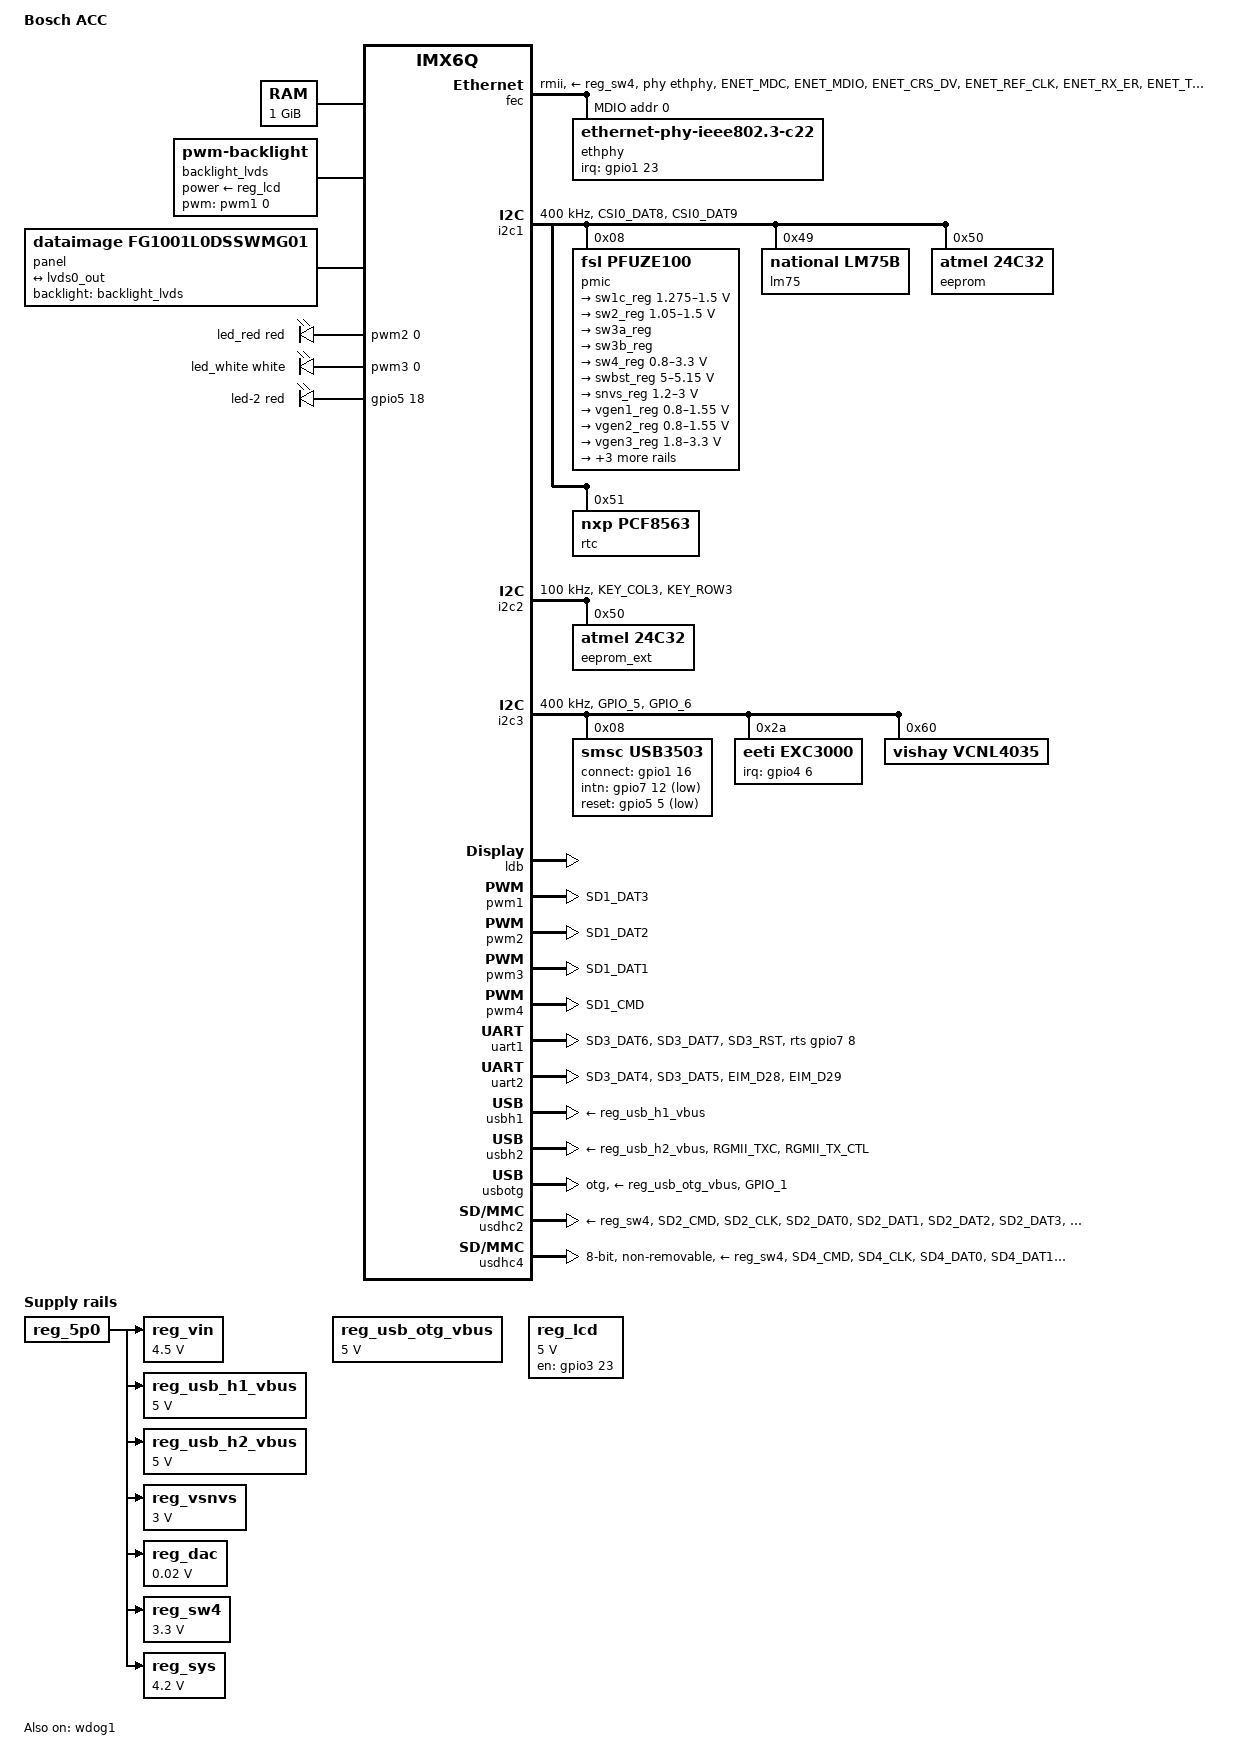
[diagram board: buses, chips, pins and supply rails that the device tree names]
// SPDX-License-Identifier: GPL-2.0
/*
 * Support for the i.MX6-based Bosch ACC board.
 *
 * Copyright (C) 2016 Garz & Fricke GmbH
 * Copyright (C) 2018 DENX Software Engineering GmbH, Heiko Schocher <hs@denx.de>
 * Copyright (C) 2018 DENX Software Engineering GmbH, Niel Fourie <lusus@denx.de>
 * Copyright (C) 2019-2021 Bosch Thermotechnik GmbH, Matthias Winker <matthias.winker@bosch.com>
 * Copyright (C) 2022 DENX Software Engineering GmbH, Philip Oberfichtner <pro@denx.de>
 */

/dts-v1/;

#include <dt-bindings/gpio/gpio.h>
#include <dt-bindings/leds/common.h>
#include "imx6q.dtsi"

/ {
	model = "Bosch ACC";
	compatible = "bosch,imx6q-acc", "fsl,imx6q";

	aliases {
		i2c0 = &i2c1;
		i2c1 = &i2c2;
		i2c2 = &i2c3;
		mmc0 = &usdhc4;
		mmc1 = &usdhc2;
		serial0 = &uart2;
		serial1 = &uart1;
	};

	memory@10000000 {
		device_type = "memory";
		reg = <0x10000000 0x40000000>;
	};

	backlight_lvds: backlight-lvds {
		compatible = "pwm-backlight";
		pwms = <&pwm1 0 200000>;
		brightness-levels = <0 61 499 1706 4079 8022 13938 22237 33328 47623 65535>;
		num-interpolated-steps = <10>;
		default-brightness-level = <60>;
		power-supply = <&reg_lcd>;
	};

	panel {
		compatible = "dataimage,fg1001l0dsswmg01";
		backlight = <&backlight_lvds>;

		port {
			panel_in: endpoint {
				remote-endpoint = <&lvds0_out>;
			};
		};
	};

	refclk: refclk {
		compatible = "fixed-factor-clock";
		#clock-cells = <0>;
		clocks = <&clks IMX6QDL_CLK_CKO2>;
		clock-div = <1>;
		clock-mult = <1>;
		clock-output-names = "12mhz_refclk";
		assigned-clocks = <&clks IMX6QDL_CLK_CKO>,
				  <&clks IMX6QDL_CLK_CKO2>,
				  <&clks IMX6QDL_CLK_CKO2_SEL>;
		assigned-clock-parents = <&clks IMX6QDL_CLK_CKO2>,
					 <&clks IMX6QDL_CLK_CKO2_PODF>,
					 <&clks IMX6QDL_CLK_OSC>;
		assigned-clock-rates = <0>, <12000000>, <0>;
	};

	cpus {
		cpu0: cpu@0 {
			operating-points = <
				/* kHz    uV */
				1200000 1275000
				996000  1225000
				852000  1225000
				792000  1150000
				396000  950000
			>;
			fsl,soc-operating-points = <
				/* ARM kHz  SOC-PU uV */
				1200000 1225000
				996000	1175000
				852000	1175000
				792000	1150000
				396000	1150000
			>;
		};

		cpu1: cpu@1 {
			operating-points = <
				/* kHz    uV */
				1200000 1275000
				996000  1225000
				852000  1225000
				792000  1150000
				396000  950000
			>;
			fsl,soc-operating-points = <
				/* ARM kHz  SOC-PU uV */
				1200000 1225000
				996000	1175000
				852000	1175000
				792000	1150000
				396000	1150000
			>;
		};
	};

	pwm-leds {
		compatible = "pwm-leds";

		led_red: led-0 {
			color = <LED_COLOR_ID_RED>;
			max-brightness = <248>;
			default-state = "off";
			pwms = <&pwm2 0 500000>;
		};

		led_white: led-1 {
			color = <LED_COLOR_ID_WHITE>;
			max-brightness = <248>;
			default-state = "off";
			pwms = <&pwm3 0 500000>;
			linux,default-trigger = "heartbeat";
		};
	};

	gpio-leds {
		compatible = "gpio-leds";
		pinctrl-names = "default";
		pinctrl-0 = <&pinctrl_reset_gpio_led>;

		led-2 {
			color = <LED_COLOR_ID_RED>;
			gpios = <&gpio5 18 GPIO_ACTIVE_HIGH>;
			default-state = "off";
		};
	};

	reg_5p0: regulator-5p0 {
		compatible = "regulator-fixed";
		regulator-name = "5p0";
	};

	reg_vin: regulator-vin {
		compatible = "regulator-fixed";
		regulator-name = "VIN";
		regulator-min-microvolt = <4500000>;
		regulator-max-microvolt = <4500000>;
		regulator-always-on;
		vin-supply = <&reg_5p0>;
	};

	reg_usb_otg_vbus: regulator-usb-otg-vbus {
		compatible = "regulator-fixed";
		regulator-name = "usb_otg_vbus";
		regulator-min-microvolt = <5000000>;
		regulator-max-microvolt = <5000000>;
	};

	reg_usb_h1_vbus: regulator-usb-h1-vbus {
		compatible = "regulator-fixed";
		regulator-name = "usb_h1_vbus";
		regulator-min-microvolt = <5000000>;
		regulator-max-microvolt = <5000000>;
		regulator-always-on;
		vin-supply = <&reg_5p0>;
	};

	reg_usb_h2_vbus: regulator-usb-h2-vbus {
		compatible = "regulator-fixed";
		regulator-name = "usb_h2_vbus";
		regulator-min-microvolt = <5000000>;
		regulator-max-microvolt = <5000000>;
		vin-supply = <&reg_5p0> ;
		regulator-always-on;
	};

	reg_vsnvs: regulator-vsnvs {
		compatible = "regulator-fixed";
		regulator-name = "VSNVS_3V0";
		regulator-min-microvolt = <3000000>;
		regulator-max-microvolt = <3000000>;
		regulator-always-on;
		vin-supply = <&reg_5p0>;
	};

	reg_lcd: regulator-lcd {
		compatible = "regulator-fixed";
		regulator-name = "LCD0 POWER";
		regulator-min-microvolt = <5000000>;
		regulator-max-microvolt = <5000000>;
		pinctrl-names = "default";
		pinctrl-0 = <&pinctrl_lcd_enable>;
		gpio = <&gpio3 23 GPIO_ACTIVE_HIGH>;
		enable-active-high;
		regulator-boot-on;
	};

	reg_dac: regulator-dac {
		compatible = "regulator-fixed";
		regulator-name = "vref_dac";
		regulator-min-microvolt = <20000>;
		regulator-max-microvolt = <20000>;
		vin-supply = <&reg_5p0> ;
		regulator-boot-on;
	};

	reg_sw4: regulator-sw4 {
		compatible = "regulator-fixed";
		regulator-name = "SW4_3V3";
		regulator-min-microvolt = <3300000>;
		regulator-max-microvolt = <3300000>;
		regulator-always-on;
		vin-supply = <&reg_5p0>;
	};

	reg_sys: regulator-sys {
		compatible = "regulator-fixed";
		regulator-name = "SYS_4V2";
		regulator-min-microvolt = <4200000>;
		regulator-max-microvolt = <4200000>;
		regulator-always-on;
		vin-supply = <&reg_5p0>;
	};
};

&reg_arm {
	vin-supply = <&sw2_reg>;
};

&reg_soc {
	vin-supply = <&sw1c_reg>;
};

&reg_vdd1p1 {
	vin-supply = <&reg_vsnvs>;
};

&reg_vdd2p5 {
	vin-supply = <&reg_vsnvs>;
};

&reg_vdd3p0 {
	vin-supply = <&reg_vsnvs>;
};

&fec {
	pinctrl-names = "default";
	pinctrl-0 = <&pinctrl_enet>;
	clocks = <&clks IMX6QDL_CLK_ENET>,
		<&clks IMX6QDL_CLK_ENET>,
		<&clks IMX6QDL_CLK_ENET>,
		<&clks IMX6QDL_CLK_ENET_REF>;
	clock-names = "ipg", "ahb", "ptp", "enet_out";
	phy-mode = "rmii";
	phy-supply = <&reg_sw4>;
	phy-handle = <&ethphy>;
	status = "okay";

	mdio {
		#address-cells = <1>;
		#size-cells = <0>;

		ethphy: ethernet-phy@0 {
			compatible = "ethernet-phy-ieee802.3-c22";
			reg = <0>;
			interrupt-parent = <&gpio1>;
			interrupts = <23 IRQ_TYPE_EDGE_FALLING>;
			smsc,disable-energy-detect;
		};
	};
};

&gpu_vg {
	status = "disabled";
};

&gpu_2d {
	status = "disabled";
};

&i2c1 {
	pinctrl-names = "default";
	pinctrl-0 = <&pinctrl_i2c1>;
	clock-frequency = <400000>;
	status = "okay";

	pmic: pmic@8 {
		compatible = "fsl,pfuze100";
		reg = <0x08>;

		regulators {
			sw1c_reg: sw1c {
				regulator-name = "VDD_SOC (sw1abc)";
				regulator-min-microvolt = <1275000>;
				regulator-max-microvolt = <1500000>;
				regulator-boot-on;
				regulator-always-on;
				regulator-ramp-delay = <6250>;
			};

			sw2_reg: sw2 {
				regulator-name = "VDD_ARM (sw2)";
				regulator-min-microvolt = <1050000>;
				regulator-max-microvolt = <1500000>;
				regulator-boot-on;
				regulator-always-on;
				regulator-ramp-delay = <6250>;
			};

			sw3a_reg: sw3a {
				regulator-name = "DDR_1V5a";
				regulator-boot-on;
				regulator-always-on;

			};

			sw3b_reg: sw3b {
				regulator-name = "DDR_1V5b";
				regulator-boot-on;
				regulator-always-on;

			};

			sw4_reg: sw4 {
				regulator-name = "AUX 3V15 (sw4)";
				regulator-min-microvolt = <800000>;
				regulator-max-microvolt = <3300000>;
			};

			swbst_reg: swbst {
				regulator-min-microvolt = <5000000>;
				regulator-max-microvolt = <5150000>;
				regulator-boot-on;
				regulator-always-on;
				status = "disabled";
			};

			snvs_reg: vsnvs {
				regulator-min-microvolt = <1200000>;
				regulator-max-microvolt = <3000000>;
				regulator-boot-on;
				regulator-always-on;
			};

			vref_reg: vrefddr {
				regulator-boot-on;
				regulator-always-on;
			};

			vgen1_reg: vgen1 {
				regulator-min-microvolt = <800000>;
				regulator-max-microvolt = <1550000>;
				regulator-always-on;
			};

			vgen2_reg: vgen2 {
				regulator-min-microvolt = <800000>;
				regulator-max-microvolt = <1550000>;
				regulator-always-on;
			};

			vgen3_reg: vgen3 {
				regulator-min-microvolt = <1800000>;
				regulator-max-microvolt = <3300000>;
				regulator-always-on;
			};

			vgen4_reg: vgen4 {
				regulator-min-microvolt = <1800000>;
				regulator-max-microvolt = <3300000>;
				regulator-always-on;
				regulator-boot-on;
			};

			vgen5_reg: vgen5 {
				regulator-min-microvolt = <1800000>;
				regulator-max-microvolt = <3300000>;
				regulator-always-on;
				regulator-boot-on;
			};

			vgen6_reg: vgen6 {
				regulator-min-microvolt = <1800000>;
				regulator-max-microvolt = <3300000>;
				regulator-always-on;
			};
		};
	};

	lm75: sensor@49 {
		compatible = "national,lm75b";
		pinctrl-names = "default";
		pinctrl-0 = <&pinctrl_lm75>;
		reg = <0x49>;
	};

	eeprom: eeprom@50 {
		compatible = "atmel,24c32";
		reg = <0x50>;
		pagesize = <32>;
	};

	rtc: rtc@51 {
		pinctrl-names = "default";
		pinctrl-0 = <&pinctrl_rtc>;
		compatible = "nxp,pcf8563";
		reg = <0x51>;
	};
};

&i2c2 {
	pinctrl-names = "default";
	pinctrl-0 = <&pinctrl_i2c2>;
	clock-frequency = <100000>;
	status = "okay";

	eeprom_ext: eeprom@50 {
		compatible = "atmel,24c32";
		reg = <0x50>;
		pagesize = <32>;
	};
};

&i2c3 {
	pinctrl-names = "default";
	pinctrl-0 = <&pinctrl_i2c3>;
	clock-frequency = <400000>;
	status = "okay";

	usb3503: usb@8 {
		compatible = "smsc,usb3503";
		pinctrl-names = "default";
		pinctrl-0 = <&pinctrl_usb3503>;
		reg = <0x08>;
		connect-gpios = <&gpio1 16 GPIO_ACTIVE_HIGH>; /* Old: 0, SS: HIGH */
		intn-gpios = <&gpio7 12 GPIO_ACTIVE_LOW>; /* Old: 1, SS: HIGH */
		reset-gpios = <&gpio5 5 GPIO_ACTIVE_LOW>; /* Old: 0, SS: HIGH */
		initial-mode = <1>;
		clocks = <&refclk>;
		clock-names = "refclk";
		refclk-frequency = <12000000>;
	};

	exc3000: touchscreen@2a {
		compatible = "eeti,exc3000";
		reg = <0x2a>;
		pinctrl-names = "default";
		pinctrl-0 = <&pinctrl_ctouch>;
		interrupt-parent = <&gpio4>;
		interrupts = <6 IRQ_TYPE_LEVEL_LOW>;
		touchscreen-size-x = <4096>;
		touchscreen-size-y = <4096>;
	};

	vcnl4035: light-sensor@60 {
		compatible = "vishay,vcnl4035";
		pinctrl-names = "default";
		pinctrl-0 = <&pinctrl_proximity>;
		reg = <0x60>;
	};
};

&ldb {
	status = "okay";

	lvds0: lvds-channel@0 {
		fsl,data-mapping = "spwg";
		fsl,data-width = <24>;

		port@4 {
			reg = <4>;

			lvds0_out: endpoint {
				remote-endpoint = <&panel_in>;
			};
		};
	};
};

&pwm1 {
	#pwm-cells = <2>;
	pinctrl-names = "default";
	pinctrl-0 = <&pinctrl_pwm1>;
	status = "okay";
};

&pwm2 {
	#pwm-cells = <2>;
	pinctrl-names = "default";
	pinctrl-0 = <&pinctrl_pwm2>;
	status = "okay";
};

&pwm3 {
	#pwm-cells = <2>;
	pinctrl-names = "default";
	pinctrl-0 = <&pinctrl_pwm3>;
	status = "okay";
};

&pwm4 {
	#pwm-cells = <2>;
	pinctrl-names = "default";
	pinctrl-0 = <&pinctrl_pwm4>;
	status = "okay";
};

&uart1 {
	pinctrl-names = "default";
	pinctrl-0 = <&pinctrl_uart1>;
	rts-gpios = <&gpio7 8 GPIO_ACTIVE_HIGH>;
	linux,rs485-enabled-at-boot-time;
	rs485-rx-during-tx;
	status = "okay";
};

&uart2 {
	pinctrl-names = "default";
	pinctrl-0 = <&pinctrl_uart2>;
	uart-has-rtscts;
	status = "okay";
};

&usbh1 {
	vbus-supply = <&reg_usb_h1_vbus>;
	status = "okay";
};

&usbh2 {
	pinctrl-names = "idle", "active";
	pinctrl-0 = <&pinctrl_usbh2_idle>;
	pinctrl-1 = <&pinctrl_usbh2_active>;
	vbus-supply = <&reg_usb_h2_vbus>;
	status = "okay";
};

&usbotg {
	pinctrl-names = "default";
	pinctrl-0 = <&pinctrl_usbotg>;
	vbus-supply = <&reg_usb_otg_vbus>;
	disable-over-current;
	dr_mode = "otg";
	srp-disable;
	hnp-disable;
	adp-disable;
	status = "okay";
};

&usbphynop1 {
	clocks = <&clks IMX6QDL_CLK_USBPHY1>;
	clock-names = "main_clk";
	vcc-supply = <&reg_usb_h1_vbus>;
};

&usbphynop2 {
	vcc-supply = <&reg_usb_h2_vbus>;
};

&usdhc2 {
	pinctrl-names = "default";
	pinctrl-0 = <&pinctrl_usdhc2>;
	cd-gpios = <&gpio1 4 GPIO_ACTIVE_LOW>;
	no-1-8-v;
	keep-power-in-suspend;
	wakeup-source;
	voltage-ranges = <3300 3300>;
	vmmc-supply = <&reg_sw4>;
	fsl,wp-controller;
	status = "okay";
};

&usdhc4 {
	pinctrl-names = "default";
	pinctrl-0 = <&pinctrl_usdhc4>;
	bus-width = <8>;
	non-removable;
	no-1-8-v;
	keep-power-in-suspend;
	voltage-ranges = <3300 3300>;
	vmmc-supply = <&reg_sw4>;
	fsl,wp-controller;
	status = "okay";
};

&wdog1 {
	pinctrl-names = "default";
	pinctrl-0 = <&pinctrl_wdog1>;
	fsl,ext-reset-output;
	timeout-sec = <10>;
	status = "okay";
};

&iomuxc {
	pinctrl_enet: enetgrp {
		fsl,pins = <
			MX6QDL_PAD_ENET_MDC__ENET_MDC		0x1b0b0
			MX6QDL_PAD_ENET_MDIO__ENET_MDIO		0x1b0b0
			MX6QDL_PAD_ENET_CRS_DV__ENET_RX_EN	0x1b0b0
			MX6QDL_PAD_ENET_REF_CLK__GPIO1_IO23	0x1b0b0	/* FEC INT */
			MX6QDL_PAD_ENET_RX_ER__ENET_RX_ER	0x1b0b0
			MX6QDL_PAD_ENET_TX_EN__ENET_TX_EN	0x0001b098
			MX6QDL_PAD_ENET_RXD0__ENET_RX_DATA0	0x1b0b0
			MX6QDL_PAD_ENET_RXD1__ENET_RX_DATA1	0x1b0b0
			MX6QDL_PAD_ENET_TXD1__ENET_TX_DATA1	0x0001b098
			MX6QDL_PAD_ENET_TXD0__ENET_TX_DATA0	0x0001b098
			MX6QDL_PAD_GPIO_16__ENET_REF_CLK	0x4001b0a8
		>;
	};

	pinctrl_reset_gpio_led: reset-gpio-led-grp {
		fsl,pins = <
			MX6QDL_PAD_CSI0_PIXCLK__GPIO5_IO18		0x1b0b0
		>;
	};

	pinctrl_i2c1: i2c1grp {
		fsl,pins = <
			MX6QDL_PAD_CSI0_DAT8__I2C1_SDA 0x4001b8b1
			MX6QDL_PAD_CSI0_DAT9__I2C1_SCL 0x4001b8b1
		>;
	};

	pinctrl_i2c2: i2c2grp {
		fsl,pins = <
			MX6QDL_PAD_KEY_COL3__I2C2_SCL 0x4001b810
			MX6QDL_PAD_KEY_ROW3__I2C2_SDA 0x4001b810
		>;
	};

	pinctrl_i2c3: i2c3grp {
		fsl,pins = <
			MX6QDL_PAD_GPIO_5__I2C3_SCL  0x4001b8b1
			MX6QDL_PAD_GPIO_6__I2C3_SDA 0x4001b8b1
		>;
	};

	pinctrl_lcd_enable: lcdenablegrp {
		fsl,pins = <
			MX6QDL_PAD_EIM_D23__GPIO3_IO23  0x1b0b0 /* lcd enable */
			MX6QDL_PAD_EIM_D16__GPIO3_IO16  0x1b0b0 /* sel6_8 */
		>;
	};

	pinctrl_lm75: lm75grp {
		fsl,pins = <
			MX6QDL_PAD_KEY_ROW0__GPIO4_IO07		0x1b0b0
		>;
	};

	pinctrl_proximity: proximitygrp {
		fsl,pins = <
			MX6QDL_PAD_KEY_ROW2__GPIO4_IO11  0x1b0b0
		>;
	};

	pinctrl_pwm1: pwm1grp {
		fsl,pins = <
			MX6QDL_PAD_SD1_DAT3__PWM1_OUT 0x0001b0b0
		>;
	};

	pinctrl_pwm2: pwm2grp {
		fsl,pins = <
			MX6QDL_PAD_SD1_DAT2__PWM2_OUT 0x0001b0b0
		>;
	};

	pinctrl_pwm3: pwm3grp {
		fsl,pins = <
			MX6QDL_PAD_SD1_DAT1__PWM3_OUT 0x0001b0b0
		>;
	};

	pinctrl_pwm4: pwm4grp {
		fsl,pins = <
			MX6QDL_PAD_SD1_CMD__PWM4_OUT 0x0001b0b0
		>;
	};

	pinctrl_rtc: rtc-grp {
		fsl,pins = <
			MX6QDL_PAD_KEY_COL1__GPIO4_IO08 0x1b0b0 /* RTC INT */
		>;
	};

	pinctrl_ctouch: ctouch-grp {
		fsl,pins = <
			MX6QDL_PAD_KEY_COL0__GPIO4_IO06 0x1b0b0 /* CTOUCH_INT */
			MX6QDL_PAD_SD1_CLK__GPIO1_IO20 0x0001b0b0 /* CTOUCH_RESET */
		>;
	};

	pinctrl_uart1: uart1grp {
		fsl,pins = <
			MX6QDL_PAD_SD3_DAT6__UART1_RX_DATA 0x1b0b1
			MX6QDL_PAD_SD3_DAT7__UART1_TX_DATA 0x1b0b1
			MX6QDL_PAD_SD3_RST__GPIO7_IO08 0x0001b0b0
		>;
	};

	pinctrl_uart2: uart2grp {
		fsl,pins = <
			MX6QDL_PAD_SD3_DAT4__UART2_RX_DATA 0x1b0b1
			MX6QDL_PAD_SD3_DAT5__UART2_TX_DATA 0x1b0b1
			MX6QDL_PAD_EIM_D28__UART2_CTS_B 0x1b0b1
			MX6QDL_PAD_EIM_D29__UART2_RTS_B 0x1b0b1
		>;
	};

	pinctrl_usbh2_idle: usbh2-idle-grp {
		fsl,pins = <
			MX6QDL_PAD_RGMII_TXC__USB_H2_DATA      0x00013018
			MX6QDL_PAD_RGMII_TX_CTL__USB_H2_STROBE 0x00013018
		>;
	};

	pinctrl_usbh2_active: usbh2-active-grp {
		fsl,pins = <
			MX6QDL_PAD_RGMII_TXC__USB_H2_DATA      0x00013018
			MX6QDL_PAD_RGMII_TX_CTL__USB_H2_STROBE 0x00017018
		>;
	};

	pinctrl_usb3503: usb3503-grp {
		fsl,pins = <
			MX6QDL_PAD_CSI0_MCLK__CCM_CLKO1    0x00000018
			MX6QDL_PAD_GPIO_17__GPIO7_IO12     0x1b0b0 /* USB INT */
			MX6QDL_PAD_DISP0_DAT11__GPIO5_IO05 0x0001b0b0 /* USB Reset */
			MX6QDL_PAD_SD1_DAT0__GPIO1_IO16    0x1b0b0 /* USB Connect */
		>;
	};

	pinctrl_usbotg: usbotggrp {
		fsl,pins = <
			MX6QDL_PAD_GPIO_1__USB_OTG_ID	0x17059
		>;
	};

	pinctrl_usdhc2: usdhc2grp {
		fsl,pins = <
			MX6QDL_PAD_SD2_CMD__SD2_CMD    0x00017069
			MX6QDL_PAD_SD2_CLK__SD2_CLK    0x00010038
			MX6QDL_PAD_SD2_DAT0__SD2_DATA0 0x00017069
			MX6QDL_PAD_SD2_DAT1__SD2_DATA1 0x00017069
			MX6QDL_PAD_SD2_DAT2__SD2_DATA2 0x00017069
			MX6QDL_PAD_SD2_DAT3__SD2_DATA3 0x00017069
			MX6QDL_PAD_GPIO_4__SD2_CD_B    0x0001b0b0
		>;
	};

	pinctrl_usdhc4: usdhc4grp {
		fsl,pins = <
			MX6QDL_PAD_SD4_CMD__SD4_CMD    0x00017059
			MX6QDL_PAD_SD4_CLK__SD4_CLK    0x00010059
			MX6QDL_PAD_SD4_DAT0__SD4_DATA0 0x00017059
			MX6QDL_PAD_SD4_DAT1__SD4_DATA1 0x00017059
			MX6QDL_PAD_SD4_DAT2__SD4_DATA2 0x00017059
			MX6QDL_PAD_SD4_DAT3__SD4_DATA3 0x00017059
			MX6QDL_PAD_SD4_DAT4__SD4_DATA4 0x00017059
			MX6QDL_PAD_SD4_DAT5__SD4_DATA5 0x00017059
			MX6QDL_PAD_SD4_DAT6__SD4_DATA6 0x00017059
			MX6QDL_PAD_SD4_DAT7__SD4_DATA7 0x00017059
		>;
	};

	pinctrl_wdog1: wdoggrp {
		fsl,pins = <
			MX6QDL_PAD_GPIO_9__WDOG1_B 0x1b0b0
		>;
	};
};
